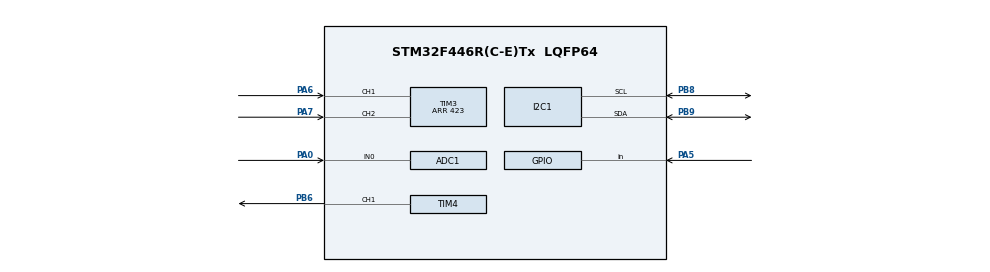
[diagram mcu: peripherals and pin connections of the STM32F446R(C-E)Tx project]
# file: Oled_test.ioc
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ADC1.Channel-0\#ChannelRegularConversion=ADC_CHANNEL_0
ADC1.NbrOfConversionFlag=1
ADC1.Rank-0\#ChannelRegularConversion=1
ADC1.SamplingTime-0\#ChannelRegularConversion=ADC_SAMPLETIME_3CYCLES
ADC1.master=1
I2C1.I2C_Mode=I2C_Fast
Mcu.Family=STM32F4
Mcu.Name=STM32F446R(C-E)Tx
Mcu.Package=LQFP64
NVIC.ADC_IRQn=true\:0\:0\:false\:false\:true\:true\:true\:true
NVIC.PriorityGroup=NVIC_PRIORITYGROUP_4
NVIC.TIM3_IRQn=true\:0\:0\:false\:false\:true\:true\:true\:true
PA0-WKUP.Signal=ADCx_IN0
PA13.Mode=Serial_Wire
PA13.Signal=SYS_JTMS-SWDIO
PA14.Mode=Serial_Wire
PA14.Signal=SYS_JTCK-SWCLK
PA5.Signal=GPIO_Input
PA6.Signal=S_TIM3_CH1
PA7.Signal=S_TIM3_CH2
PB6.Signal=S_TIM4_CH1
PB8.Mode=I2C
PB8.Signal=I2C1_SCL
PB9.Mode=I2C
PB9.Signal=I2C1_SDA
PH0-OSC_IN.Mode=HSE-External-Oscillator
PH0-OSC_IN.Signal=RCC_OSC_IN
PH1-OSC_OUT.Mode=HSE-External-Oscillator
PH1-OSC_OUT.Signal=RCC_OSC_OUT
ProjectManager.HeapSize=0x200
ProjectManager.StackSize=0x400
ProjectManager.TargetToolchain=STM32CubeIDE
RCC.CortexFreq_Value=16000000
RCC.USBFreq_Value=96000000
RCC.VCOOutputFreq_Value=192000000
SH.ADCx_IN0.0=ADC1_IN0,IN0
SH.S_TIM3_CH1.0=TIM3_CH1,Encoder_Interface
SH.S_TIM3_CH2.0=TIM3_CH2,Encoder_Interface
SH.S_TIM4_CH1.0=TIM4_CH1,PWM Generation1 CH1
TIM3.EncoderMode=TIM_ENCODERMODE_TI12
TIM3.Period=423
TIM4.Channel-PWM\ Generation1\ CH1=TIM_CHANNEL_1
TIM4.Period=10000
TIM4.Prescaler=15
board=custom

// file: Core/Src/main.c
/* USER CODE BEGIN Header */
/**
  ******************************************************************************
  * @file           : main.c
  * @brief          : Main program body
  ******************************************************************************
  * @attention
  *
  * Copyright (c) 2025 STMicroelectronics.
  * All rights reserved.
  *
  * This software is licensed under terms that can be found in the LICENSE file
  * in the root directory of this software component.
  * If no LICENSE file comes with this software, it is provided AS-IS.
  *
  ******************************************************************************
  */
/* USER CODE END Header */
#include "main.h"
#include "adc.h"
#include "i2c.h"
#include "tim.h"
#include "gpio.h"

/* USER CODE BEGIN Includes */
#include "ssd1306.h"
#include "fonts.h"
#include "string.h"
#include "stdio.h"
/* USER CODE END Includes */

/* USER CODE BEGIN PV */
extern TIM_HandleTypeDef htim3;
/* USER CODE END PV */

void SystemClock_Config(void);

int main(void)
{

  /* MCU Configuration--------------------------------------------------------*/

  /* Reset of all peripherals, Initializes the Flash interface and the Systick. */
  HAL_Init();

  /* Configure the system clock */
  SystemClock_Config();

  /* Initialize all configured peripherals */
  MX_GPIO_Init();
  MX_I2C1_Init();
  MX_TIM3_Init();
  MX_ADC1_Init();
  MX_TIM4_Init();
  /* USER CODE BEGIN 2 */
  HAL_TIM_Encoder_Start(&htim3, TIM_CHANNEL_ALL);
  HAL_TIM_PWM_Start(&htim4, TIM_CHANNEL_1);
  SSD1306_Init();
  uint16_t adc_value;
  char msg[32] ={'0','0','0'};
  char msg2[32] ={'0','0','0'};
  uint16_t y = 0;
  float temp;
  float Kp= 16.5;
  float Ki= 1.76;
  float Kd= 9.84;
  float integral=0;
  float last_error=0;
  uint32_t last_pid_time=0;
  float output=0;
  float temp_raw=0;
  float temp1=0;
  float alpha=0.1f;
  static float derivative_filtered = 0;
  float smooth_temp=0;
  /* USER CODE END 2 */

  /* Infinite loop */
  /* USER CODE BEGIN WHILE */
  while (1)
  {
    uint16_t encoder_value = (int16_t)__HAL_TIM_GET_COUNTER(&htim3);

    int set_temp = y;
    uint32_t now = HAL_GetTick();
    float dt = (now - last_pid_time)/1000.0f;
    if(dt>=0.02f){
    	last_pid_time=now;
        float error = (set_temp - temp);
        if (output < 100.0f && output > 0.0f)
        	integral += error*dt;
        if (error < -2.0f)
        	integral = 0;

        float derivative = (error - last_error)/dt;
        derivative_filtered = alpha * derivative + (1-alpha) * derivative_filtered;
        last_error = error;
        output = Kp*error + Ki*integral + Kd*derivative_filtered;

       /* float derivative =(error - last_error)/dt;
        last_error=error;
        output = Kp*error + Ki*integral + Kd*derivative;*/
        if(output<0) output=0;
        if(output>100) output=100;
        if (integral > 500) integral = 500;
        if (integral < -500) integral = -500;
        if(temp<50 && output > 50) output=50;
    }
    if(encoder_value%4 == 0){
    y = (encoder_value*1.25);
    }
    	SSD1306_Fill (0);
    	sprintf(msg, "set:%d", y);
    	SSD1306_GotoXY(5, 10);
    	SSD1306_Puts(msg, &Font_16x26, 1);
    	temp_raw=0;
    	for(int i=0;i<10;i++){
        HAL_ADC_Start(&hadc1);
        HAL_ADC_PollForConversion(&hadc1, HAL_MAX_DELAY);
    	adc_value = HAL_ADC_GetValue(&hadc1);
    	temp1=(adc_value/5.567f)-165.87;
    	temp_raw+=temp1;
    	HAL_Delay(5);
    	}
    	//smooth_temp=alpha*temp_raw+(1-alpha)*smooth_temp;
    	//temp=smooth_temp;
    	temp=temp_raw/10;

    	uint16_t pwm_value = (10000-(output*100));
    	__HAL_TIM_SET_COMPARE(&htim4, TIM_CHANNEL_1, pwm_value);
    	sprintf(msg2, "%0.1fC",temp);
    	SSD1306_GotoXY(5,35);
    	SSD1306_Puts(msg2,&Font_16x26, 1);

    SSD1306_UpdateScreen();
    HAL_Delay(50);

    /* USER CODE END WHILE */

  }
}

void SystemClock_Config(void)
{
  RCC_OscInitTypeDef RCC_OscInitStruct = {0};
  RCC_ClkInitTypeDef RCC_ClkInitStruct = {0};

  /** Configure the main internal regulator output voltage
  */
  __HAL_RCC_PWR_CLK_ENABLE();
  __HAL_PWR_VOLTAGESCALING_CONFIG(PWR_REGULATOR_VOLTAGE_SCALE3);

  /** Initializes the RCC Oscillators according to the specified parameters
  * in the RCC_OscInitTypeDef structure.
  */
  RCC_OscInitStruct.OscillatorType = RCC_OSCILLATORTYPE_HSI;
  RCC_OscInitStruct.HSIState = RCC_HSI_ON;
  RCC_OscInitStruct.HSICalibrationValue = RCC_HSICALIBRATION_DEFAULT;
  RCC_OscInitStruct.PLL.PLLState = RCC_PLL_NONE;
  if (HAL_RCC_OscConfig(&RCC_OscInitStruct) != HAL_OK)
  {
    Error_Handler();
  }

  /** Initializes the CPU, AHB and APB buses clocks
  */
  RCC_ClkInitStruct.ClockType = RCC_CLOCKTYPE_HCLK|RCC_CLOCKTYPE_SYSCLK
                              |RCC_CLOCKTYPE_PCLK1|RCC_CLOCKTYPE_PCLK2;
  RCC_ClkInitStruct.SYSCLKSource = RCC_SYSCLKSOURCE_HSI;
  RCC_ClkInitStruct.AHBCLKDivider = RCC_SYSCLK_DIV1;
  RCC_ClkInitStruct.APB1CLKDivider = RCC_HCLK_DIV1;
  RCC_ClkInitStruct.APB2CLKDivider = RCC_HCLK_DIV1;

  if (HAL_RCC_ClockConfig(&RCC_ClkInitStruct, FLASH_LATENCY_0) != HAL_OK)
  {
    Error_Handler();
  }
}

void Error_Handler(void)
{
  __disable_irq();
  while (1)
  {
  }
}
